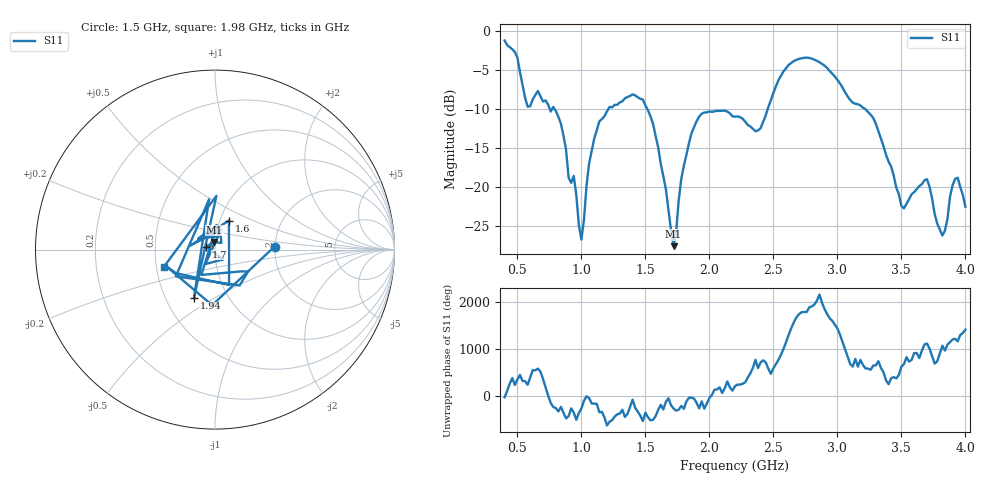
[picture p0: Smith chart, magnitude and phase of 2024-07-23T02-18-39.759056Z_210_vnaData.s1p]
!Created with skrf (http://scikit-rf.org).
# Hz S RI R 50.0
!freq ReS11 ImS11
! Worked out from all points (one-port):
!   181 points, 400 MHz to 4 GHz, reference 50 ohm
!   lowest |S11| = -27.5 dB at 1.72 GHz (marker M1), VSWR 1.09, Z = 49.5 + j4.17 ohm
!   |S11| at or under -10 dB: 789.8 MHz to 1.211 GHz (421 MHz wide, 42.1 % of centre); 1.514 GHz to 2.456 GHz (941.4 MHz wide, 47.4 % of centre); 3.216 GHz to end of sweep (the widest 3 of 4)
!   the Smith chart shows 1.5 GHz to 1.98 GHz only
!   S11 on the Smith chart (normalised r, x): 1.5 GHz: 1.99, +0.08; 1.6 GHz: 1.10, +0.37; 1.7 GHz: 0.90, +0.03; 1.94 GHz: 0.69, -0.41; 1.98 GHz: 0.55, -0.12
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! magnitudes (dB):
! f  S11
! 400 MHz  -1.3
! 500 MHz  -3.5
! 580 MHz  -9.7
! 660 MHz  -7.7
! 860 MHz  -13.4
! 900 MHz  -18.8
! 940 MHz  -18.5
! 1 GHz  -26.7
! 1.1 GHz  -13.8
! 1.3 GHz  -9.2
! 1.5 GHz  -9.6
! 1.6 GHz  -14.9
! 1.7 GHz  -25.5
! 1.72 GHz  -27.5
! 1.76 GHz  -21.7
! 1.94 GHz  -10.6
! 1.98 GHz  -10.4
! 2.2 GHz  -11.0
! 2.4 GHz  -12.5
! 2.66 GHz  -3.9
! 3.1 GHz  -8.9
! 3.28 GHz  -11.2
! 3.5 GHz  -22.4
! 3.56 GHz  -21.5
! 3.7 GHz  -19.0
! 3.82 GHz  -26.2
! 3.92 GHz  -18.9
! 4 GHz  -22.5
